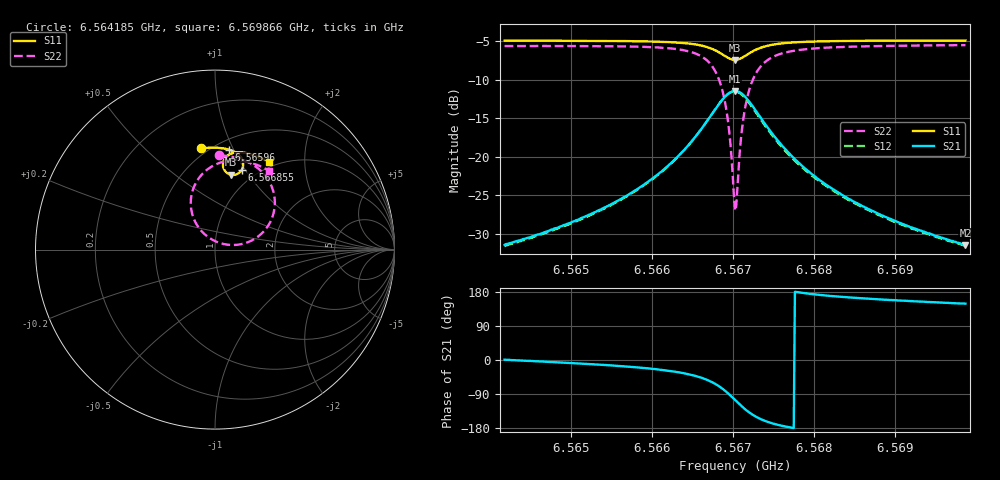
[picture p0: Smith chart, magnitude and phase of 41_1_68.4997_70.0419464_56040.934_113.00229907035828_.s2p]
#  HZ  S  RI  R  50.00
! Rohde & Schwarz Vector Network Analyzer
! Rohde-Schwarz,ZNB20-2Port,1311601062101988,3.16
! Created: UTC 3/20/2024, 5:05:35 PM
! freq[Hz]  re:S11  im:S11  re:S21  im:S21  re:S12  im:S12  re:S22  im:S22
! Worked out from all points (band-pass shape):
!   401 points, 6.564185 GHz to 6.569866 GHz, reference 50 ohm
!   highest |S21| = -11.43 dB at 6.567026 GHz (marker M1); lowest = -31.5 dB at 6.569866 GHz (marker M2)
!   |S21| within 3 dB of the highest: 6.566742 GHz to 6.56731 GHz (568.5 kHz wide, 0.00866 % of centre)
!   lowest |S11| = -7.4 dB at 6.567026 GHz (marker M3), VSWR 2.49, Z = 40.7 + j41.5 ohm
!   |S11| at or under -10 dB: nowhere
!   |S22| runs from -27.0 to -5.5 dB; largest |S21 - S12| = 0.012
!   S11 on the Smith chart (normalised r, x): 6.564185 GHz: 0.46, +0.76; 6.56596 GHz: 0.59, +0.96; 6.566855 GHz: 0.85, +0.97; 6.569866 GHz: 0.93, +1.34
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6.5641851e9  -0.076 0.5639  0.0267 0.000334  0.0262 -0.000153  0.0231 0.5247
6.5651366e9  0.00121 0.568  0.0396 -0.00658  0.0387 -0.00721  0.111 0.5134
6.5659604e9  0.0763 0.5574  0.0641 -0.0261  0.063 -0.027  0.2124 0.4722
6.5660882e9  0.0895 0.5531  0.0704 -0.0332  0.0694 -0.034  0.2327 0.4579
6.5664007e9  0.1244 0.5347  0.0908 -0.0639  0.0893 -0.0653  0.2912 0.397
6.5666279e9  0.1499 0.5048  0.1043 -0.116  0.1018 -0.1181  0.3308 0.2968
6.5667557e9  0.1573 0.4748  0.0974 -0.1683  0.0933 -0.1713  0.3246 0.1971
6.5668551e9  0.1494 0.4446  0.0664 -0.2202  0.0593 -0.2227  0.2702 0.1
6.5668977e9  0.1396 0.4319  0.0415 -0.2409  0.0328 -0.2427  0.2247 0.0623
6.5669403e9  0.1255 0.4218  0.00865 -0.2565  -0.00161 -0.2565  0.165 0.035
6.5669687e9  0.1141 0.4176  -0.0168 -0.2622  -0.0277 -0.2607  0.1192 0.0265
6.5670114e9  0.0952 0.416  -0.0577 -0.2616  -0.0685 -0.257  0.047 0.0313
6.5670256e9  0.0888 0.417  -0.0711 -0.2585  -0.0817 -0.2531  0.0235 0.038
6.567054e9  0.0765 0.421  -0.0969 -0.2486  -0.1068 -0.2414  -0.0205 0.0583
6.5671108e9  0.057 0.4365  -0.1388 -0.2163  -0.1457 -0.2065  -0.0892 0.1202
6.5671534e9  0.0482 0.4514  -0.1592 -0.186  -0.1634 -0.1756  -0.1195 0.1757
6.5672102e9  0.0442 0.472  -0.172 -0.1453  -0.1734 -0.1354  -0.1348 0.2481
6.5672812e9  0.0481 0.4943  -0.1718 -0.102  -0.1707 -0.0935  -0.1264 0.3234
6.5675368e9  0.0872 0.534  -0.1285 -0.0222  -0.1258 -0.0184  -0.0291 0.4561
6.5679771e9  0.1458 0.5422  -0.0765 0.00826  -0.0746 0.00933  0.0927 0.4968
6.5689287e9  0.232 0.5198  -0.0369 0.0145  -0.036 0.0149  0.2222 0.4773
6.569866e9  0.3003 0.4855  -0.0228 0.0139  -0.0223 0.014  0.3012 0.439
